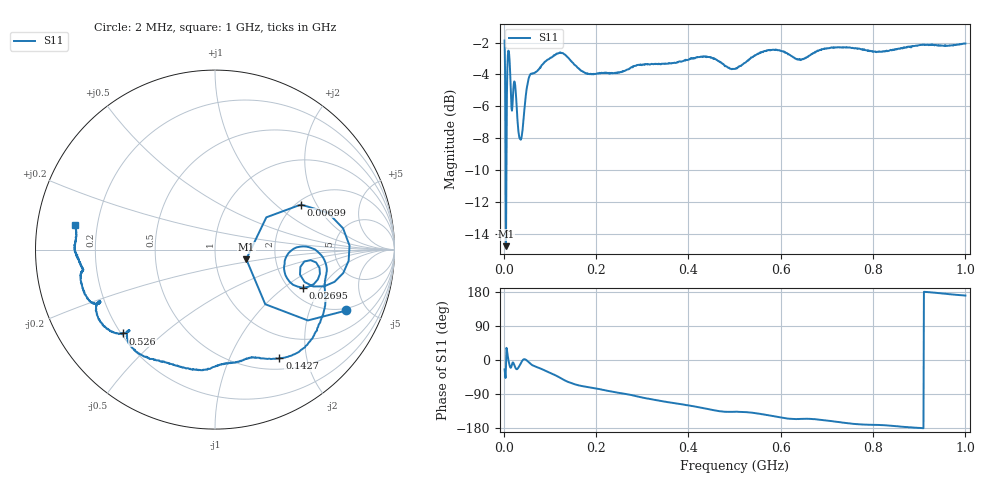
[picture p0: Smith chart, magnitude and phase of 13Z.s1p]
!Keysight Technologies N9923A: A.08.19
!Date: Thursday, 16 January 2020 11:30:00
!TimeZone: (GMT-03:00) Brasilia!Model: N9923A
!Serial: MY51491501
!GPS Latitude:
!GPS Longitude:
!GPS TimeStamp: 0001-01-01 00:00:00Z
!GPS Seconds Since Last Read: 0
!CHECKSUM:1078980270
!Correction: S11(ON U)
!S1P File: Measurement: S11:
# Hz S DB R 50
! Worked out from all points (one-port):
!   1001 points, 2 MHz to 1 GHz, reference 50 ohm
!   lowest |S11| = -14.8 dB at 4.994 MHz (marker M1), VSWR 1.45, Z = 70.6 - j7.78 ohm
!   |S11| at or under -10 dB: 4.322 MHz to 5.885 MHz (1.563 MHz wide, 30.6 % of centre)
!   S11 on the Smith chart (normalised r, x): 2 MHz: 1.87, -3.63; 6.99 MHz: 2.12, +1.50; 26.95 MHz: 2.34, -1.39; 142.7 MHz: 0.65, -1.56; 526 MHz: 0.21, -0.37; 1 GHz: 0.12, +0.09
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2000000  -1.86 -24.9
4994000  -14.80 -17.0
6990000  -5.34 27.7
9984000  -2.50 1.7
1.2978e7  -3.22 -15.1
1.5972e7  -5.51 -19.9
2.695e7  -5.45 -23.5
3.5932e7  -8.05 -11.4
4.691e7  -5.58 1.4
5.689e7  -4.04 -8.7
8.5832e7  -3.32 -25.7
1.10782e8  -2.79 -39.7
1.2675e8  -2.65 -50.2
1.42718e8  -3.05 -59.4
1.72658e8  -3.84 -69.6
2.515e8  -3.87 -87.2
2.92418e8  -3.39 -97.0
3.7625e8  -3.22 -115.2
4.55092e8  -3.00 -132.3
5.01e8  -3.65 -136.7
5.2595e8  -3.18 -137.7
5.86828e8  -2.45 -148.7
6.2575e8  -2.88 -155.7
6.48704e8  -3.03 -155.3
6.79642e8  -2.49 -156.7
7.505e8  -2.31 -167.6
8.7525e8  -2.27 -177.0
1e9  -2.05 170.1
